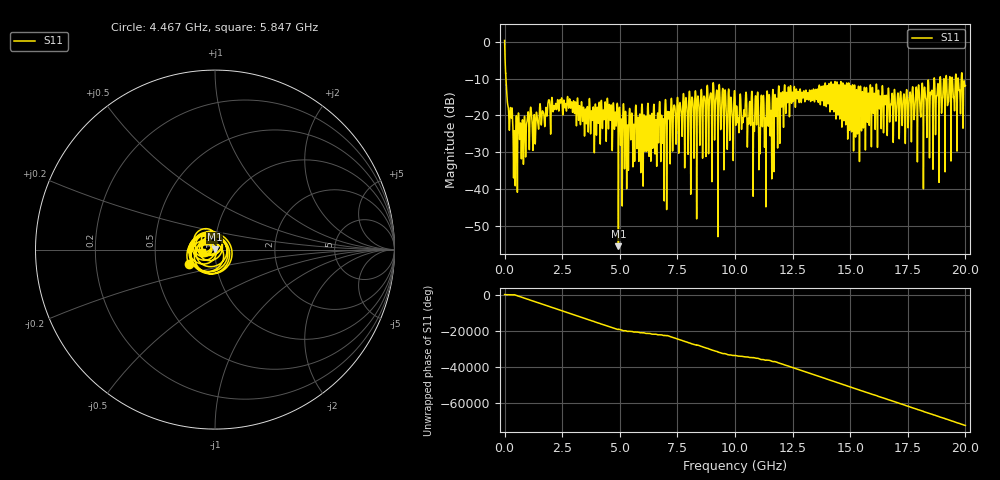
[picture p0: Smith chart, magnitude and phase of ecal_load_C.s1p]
! MS46122B
! 2250307/22442219
! 7/23/2025 1:06:11 PM
! C:\USERS\SPARKY\DOCUMENTS\VNA_DATA\JULY23_2025\295K\ECAL_LOAD_C.S1P
! CHANNEL.1
! TR.MEASUREMENT
! RAW.DATA
# GHZ S RI R 50.0
! FREQ.GHZ  S11RE  S11IM
!; PortSelection: Port_1
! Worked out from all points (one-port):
!   10001 points, 1 MHz to 20 GHz, reference 50 ohm
!   lowest |S11| = -55.6 dB at 4.941 GHz (marker M1), VSWR 1.00, Z = 49.9 + j0.126 ohm
!   |S11| at or under -10 dB: 59.67 MHz to 18.64 GHz (18.58 GHz wide, 199 % of centre); 18.66 GHz to 18.9 GHz (240.1 MHz wide, 1.28 % of centre); 18.92 GHz to 19.07 GHz (145.9 MHz wide, 0.768 % of centre) (the widest 3 of 10)
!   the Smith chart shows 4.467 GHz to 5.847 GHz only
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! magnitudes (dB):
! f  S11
! 1 MHz  0.4
! 145 MHz  -17.3
! 469 MHz  -34.2
! 585 MHz  -20.9
! 823 MHz  -31.4
! 1.079 GHz  -27.7
! 1.273 GHz  -20.2
! 2.501 GHz  -17.0
! 4.539 GHz  -17.5
! 4.941 GHz  -55.6
! 5.001 GHz  -18.7
! 5.293 GHz  -33.6
! 5.445 GHz  -19.3
! 6.729 GHz  -16.2
! 6.855 GHz  -27.4
! 7.307 GHz  -23.7
! 7.501 GHz  -15.1
! 9.127 GHz  -21.8
! 9.185 GHz  -14.2
! 10 GHz  -14.8
! 10.67 GHz  -20.7
! 10.86 GHz  -19.9
! 10.92 GHz  -19.5
! 11.27 GHz  -21.6
! 12.5 GHz  -13.9
! 15 GHz  -14.3
! 17.5 GHz  -20.6
! 20 GHz  -11.9
